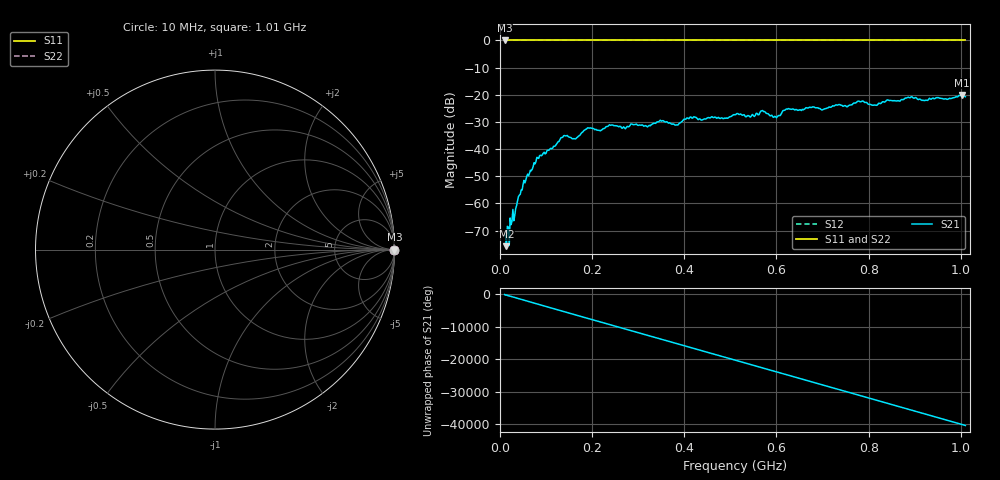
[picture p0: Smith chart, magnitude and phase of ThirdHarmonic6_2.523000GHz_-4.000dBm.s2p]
! 8/17/2025 4:58:46 AM
! C:\ANRITSUVNA\TEMP\TEMP.S2P
! CHANNEL.1
! TR.MEASUREMENT
! RAW.DATA
! RF.CORRECTION.OFF
! AVERAGING.OFF
! IF.BANDWIDTH: 5KHZ
! SWEEPTYPE:  FREQ.SWEEP(Linear)
! Reference Plane Port Info
! PORT:  PORT1  PORT2
! DISTANCE:  0  m  0  m
! TIME:  0  s  0  s
! PHASE.OFFSET:  0  deg.  0  deg.
! LOSS:  0  dB  0  dB
! REF.LOSS:  0  dB  0  dB
! REF.FREQ:  0  Hz  0  Hz
! Power Info
! POWER:  -20  dBm  -20  dBm
! EFF.POWER:  -20  dBm  -20  dBm
! SOURCE.ATTEN:  0  dB  0  dB
! TEST.ATTEN:  0  dB  0  dB
# GHZ S RI R 50.0
! FREQ.GHZ  S11RE  S11IM  S21RE  S21IM  S12RE  S12IM  S22RE  S22IM
!; PortSelection: Port_12
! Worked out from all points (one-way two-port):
!   501 points, 10 MHz to 1.01 GHz, reference 50 ohm
!   highest |S21| = -20.09 dB at 1.002 GHz (marker M1); lowest = -75.7 dB at 14 MHz (marker M2)
!   lowest |S11| = 0.0 dB at 10 MHz (marker M3)
!   |S11| at or under -10 dB: nowhere
!   |S22| runs from 0.0 to 0.0 dB; largest |S21 - S12| = 1.1
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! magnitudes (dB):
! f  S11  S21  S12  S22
! 10 MHz  0.0  -70.6  0.0  0.0
! 14 MHz  0.0  -75.7  0.0  0.0
! 16 MHz  0.0  -68.4  0.0  0.0
! 54 MHz  0.0  -52.4  0.0  0.0
! 84 MHz  0.0  -43.4  0.0  0.0
! 136 MHz  0.0  -35.7  0.0  0.0
! 162 MHz  0.0  -36.2  0.0  0.0
! 178 MHz  0.0  -33.9  0.0  0.0
! 194 MHz  0.0  -32.3  0.0  0.0
! 344 MHz  0.0  -30.0  0.0  0.0
! 382 MHz  0.0  -31.2  0.0  0.0
! 410 MHz  0.0  -28.8  0.0  0.0
! 510 MHz  0.0  -27.4  0.0  0.0
! 570 MHz  0.0  -25.8  0.0  0.0
! 598 MHz  0.0  -28.0  0.0  0.0
! 624 MHz  0.0  -25.3  0.0  0.0
! 678 MHz  0.0  -24.5  0.0  0.0
! 782 MHz  0.0  -22.6  0.0  0.0
! 814 MHz  0.0  -23.8  0.0  0.0
! 844 MHz  0.0  -22.1  0.0  0.0
! 1.002 GHz  0.0  -20.1  0.0  0.0
! 1.01 GHz  0.0  -20.7  0.0  0.0
